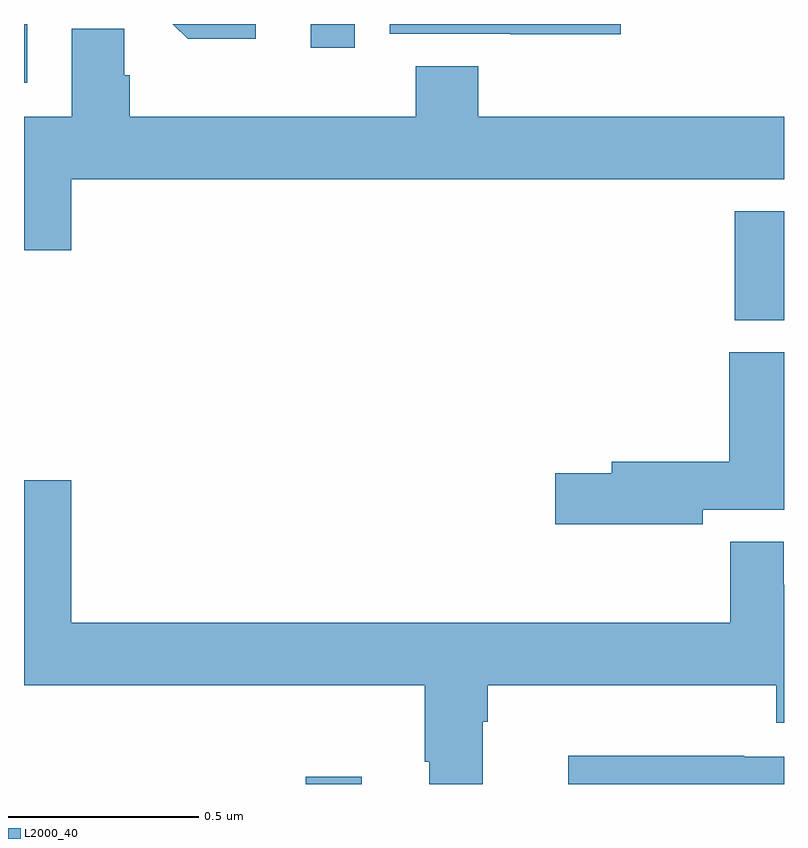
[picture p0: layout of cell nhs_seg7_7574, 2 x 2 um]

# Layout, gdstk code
import gdstk
lib = gdstk.Library(unit=1e-6, precision=1e-09)
def R(c, l, rs):  # rectangles x0, y0, x1, y1
    for r in rs: c.add(gdstk.rectangle(r[:2], r[2:], *l))
def P(c, l, *ps):  # polygons
    for p in ps: c.add(gdstk.Polygon(p, *l))
L2000_40 = (2000, 40)

nhs_seg7_7574 = lib.new_cell('nhs_seg7_7574')
R(nhs_seg7_7574, L2000_40, [(213.741,1023,213.889,1023.019), (214.871,1024.221,215,1024.507), (213,1024.845,213.009,1025), (213.755,1024.938,213.87,1025)])
P(nhs_seg7_7574, L2000_40, [(213.61,1025),(213.392,1025),(213.431,1024.961),(213.61,1024.961)],
  [(214.571,1025),(213.963,1025),(213.963,1024.974),(214.279,1024.974),(214.279,1024.973),(214.571,1024.973)],
  [(213.124,1024.592),(215,1024.592),(215,1024.756),(214.196,1024.756),(214.196,1024.889),(214.031,1024.889),(214.031,1024.756),(213.278,1024.756),(213.278,1024.865),(213.264,1024.865),(213.264,1024.988),(213.125,1024.988),(213.125,1024.756),(213,1024.756),(213,1024.404),(213.124,1024.404)],
  [(214.786,1023.722),(215,1023.722),(215,1024.136),(214.856,1024.136),(214.856,1023.848),(214.547,1023.848),(214.547,1023.818),(214.398,1023.818),(214.398,1023.683),(214.786,1023.683)],
  [(214.207,1023.164),(214.22,1023.164),(214.22,1023.26),(214.979,1023.26),(214.979,1023.161),(215,1023.161),(215,1023.525),(214.999,1023.525),(214.999,1023.637),(214.859,1023.637),(214.859,1023.424),(213.124,1023.424),(213.124,1023.799),(213,1023.799),(213,1023.26),(214.055,1023.26),(214.055,1023.058),(214.067,1023.058),(214.067,1023),(214.207,1023)],
  [(215,1023.072),(214.895,1023.072),(214.895,1023.074),(214.432,1023.074),(214.432,1023),(215,1023)])

lib.write_gds('nhs_seg7_7574.gds')
